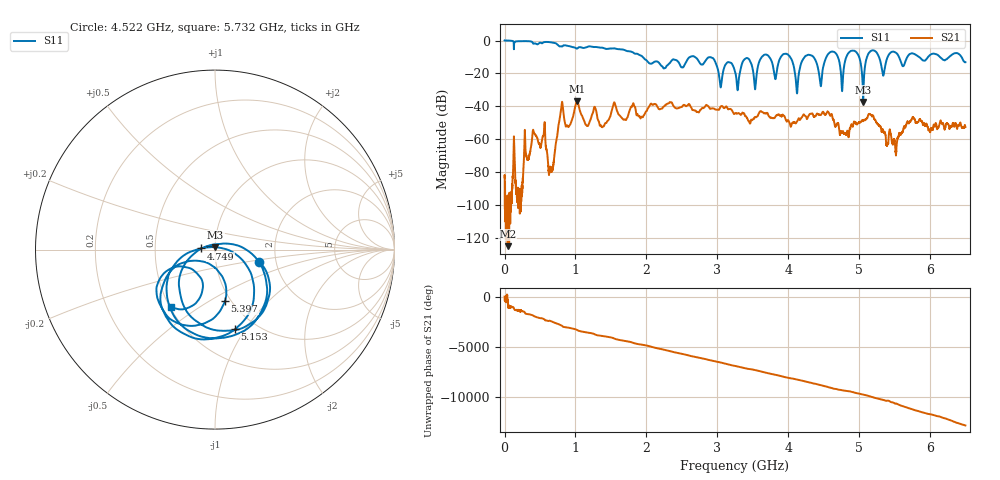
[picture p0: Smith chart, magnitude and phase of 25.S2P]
!Keysight Technologies,E5063A,MY54503115,A.05.08
!Date: Wed Dec 06 19:20:25 2023
!Data & Calibration Information:
!Freq	S11:NONE(--)	S21:NONE(--)	S12:NONE(--)	S22:NONE(--)
# Hz S dB R 50
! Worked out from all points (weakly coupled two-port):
!   10001 points, 100 kHz to 6.5 GHz, reference 50 ohm
!   highest |S21| = -36.94 dB at 1.024 GHz (marker M1); lowest = -125.1 dB at 44.3 MHz (marker M2)
!   lowest |S11| = -37.4 dB at 5.058 GHz (marker M3), VSWR 1.03, Z = 50.2 + j1.34 ohm
!   |S11| at or under -10 dB: 1.948 GHz to 2.615 GHz (667.4 MHz wide, 29.3 % of centre); 2.685 GHz to 3.628 GHz (943.6 MHz wide, 29.9 % of centre); 4.027 GHz to 4.231 GHz (204.5 MHz wide, 4.95 % of centre) (the widest 3 of 12)
!   S12 and S22 are empty: the file has one direction only
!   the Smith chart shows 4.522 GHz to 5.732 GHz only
!   S11 on the Smith chart (normalised r, x): 4.522 GHz: 1.63, -0.24; 4.749 GHz: 0.86, +0.01; 5.153 GHz: 0.80, -0.90; 5.397 GHz: 0.94, -0.59; 5.732 GHz: 0.51, -0.39
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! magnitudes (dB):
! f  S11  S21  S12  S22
! 100 kHz  0.0  -83.3  -  -
! 44.3 MHz  0.0  -125.1  -  -
! 234.7 MHz  -0.4  -97.9  -  -
! 421.3 MHz  -1.8  -56.5  -  -
! 653.3 MHz  -1.1  -78.0  -  -
! 795 MHz  -3.5  -42.2  -  -
! 1.024 GHz  -4.9  -36.9  -  -
! 1.084 GHz  -4.2  -45.2  -  -
! 2.167 GHz  -13.1  -41.4  -  -
! 3.25 GHz  -18.7  -44.3  -  -
! 3.966 GHz  -8.0  -48.4  -  -
! 4.125 GHz  -32.2  -49.3  -  -
! 4.334 GHz  -9.2  -44.4  -  -
! 4.522 GHz  -11.9  -45.3  -  -
! 4.749 GHz  -22.4  -55.6  -  -
! 4.917 GHz  -6.1  -51.5  -  -
! 5.058 GHz  -37.4  -48.8  -  -
! 5.153 GHz  -6.8  -44.8  -  -
! 5.397 GHz  -10.6  -63.0  -  -
! 5.417 GHz  -8.8  -58.7  -  -
! 5.732 GHz  -7.9  -48.8  -  -
! 6.5 GHz  -13.2  -52.6  -  -
